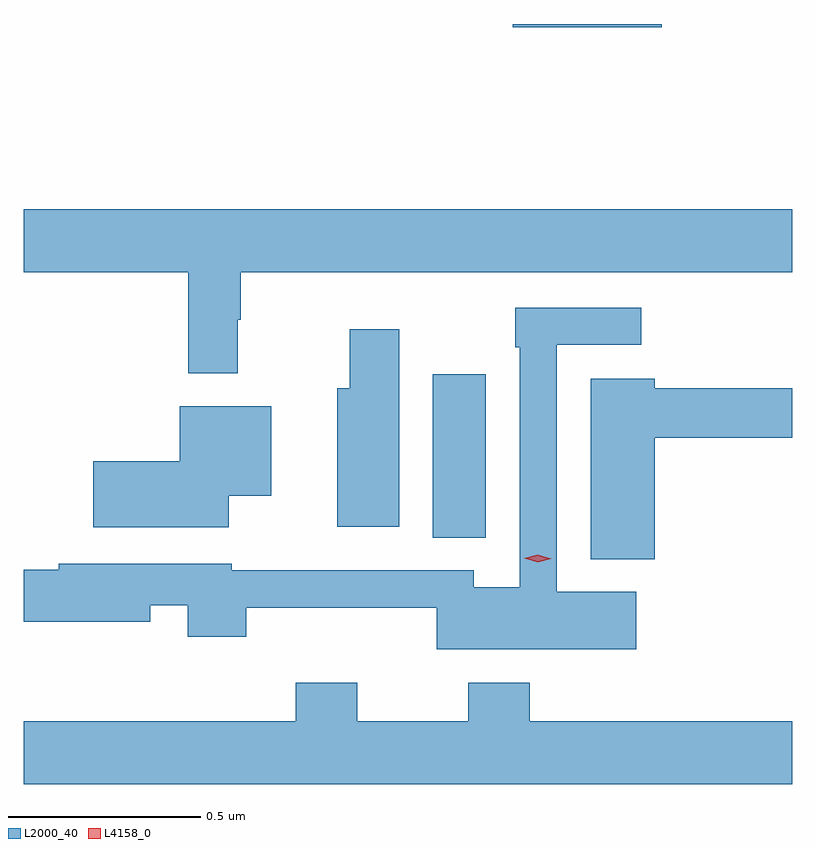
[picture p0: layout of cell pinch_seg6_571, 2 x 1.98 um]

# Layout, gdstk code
import gdstk
lib = gdstk.Library(unit=1e-6, precision=1e-09)
def R(c, l, rs):  # rectangles x0, y0, x1, y1
    for r in rs: c.add(gdstk.rectangle(r[:2], r[2:], *l))
def P(c, l, *ps):  # polygons
    for p in ps: c.add(gdstk.Polygon(p, *l))
L2000_40 = (2000, 40)
L4158_0 = (4158, 0)

pinch_seg6_571 = lib.new_cell('pinch_seg6_571')
R(pinch_seg6_571, L2000_40, [(554.072,993.265,554.209,993.691), (554.28,994.594,554.668,994.603)])
P(pinch_seg6_571, L2000_40, [(553.564,993.833),(553.571,993.833),(553.571,993.956),(555.007,993.956),(555.007,994.12),(553.007,994.12),(553.007,993.956),(553.435,993.956),(553.435,993.693),(553.564,993.693)],
  [(554.602,993.124),(554.394,993.124),(554.394,993.768),(554.614,993.768),(554.614,993.864),(554.286,993.864),(554.286,993.761),(554.298,993.761),(554.298,993.136),(554.178,993.136),(554.178,993.18),(553.548,993.18),(553.548,993.198),(553.097,993.198),(553.097,993.182),(553.007,993.182),(553.007,993.047),(553.336,993.047),(553.336,993.09),(553.433,993.09),(553.433,993.008),(553.586,993.008),(553.586,993.083),(554.082,993.083),(554.082,992.975),(554.602,992.975)],
  [(553.984,993.808),(553.855,993.808),(553.855,993.655),(553.823,993.655),(553.823,993.294),(553.984,993.294)],
  [(554.65,993.526),(555.007,993.526),(555.007,993.655),(554.65,993.655),(554.65,993.679),(554.483,993.679),(554.483,993.209),(554.65,993.209)],
  [(553.54,993.374),(553.651,993.374),(553.651,993.607),(553.412,993.607),(553.412,993.464),(553.188,993.464),(553.188,993.293),(553.54,993.293)],
  [(553.715,992.887),(553.715,992.788),(553.007,992.788),(553.007,992.624),(555.007,992.624),(555.007,992.788),(554.324,992.788),(554.324,992.887),(554.164,992.887),(554.164,992.788),(553.875,992.788),(553.875,992.887)])
P(pinch_seg6_571, L4158_0, [(554.345,993.201),(554.31,993.212),(554.31,993.212),(554.31,993.212),(554.345,993.221),(554.38,993.211),(554.38,993.21),(554.38,993.21)])

lib.write_gds('pinch_seg6_571.gds')
